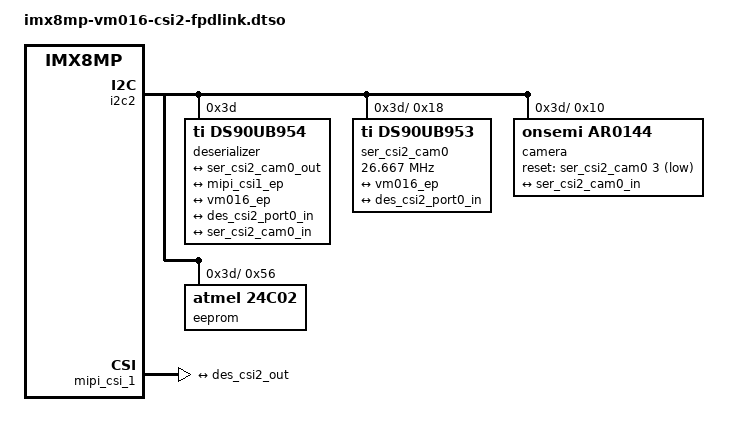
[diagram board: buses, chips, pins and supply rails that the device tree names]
// SPDX-License-Identifier: (GPL-2.0+ OR MIT)
/*
 * Copyright (C) 2022 PHYTEC Messtechnik GmbH
 * Author: Stefan Riedmueller <s.riedmueller@phytec.de>
 */

/dts-v1/;
/plugin/;

#include <dt-bindings/gpio/gpio.h>
#include <dt-bindings/clock/imx8mp-clock.h>

/ {
	compatible = "phytec,imx8mp-phyboard-pollux";

	fragment@3 {
		target-path= "/";

		__overlay__ {
			ser_csi2_clk: serializer-csi2-clk {
				#clock-cells = <0>;
				compatible = "fixed-clock";
				clock-frequency = <24000000>;
			};
		};
	};
};

&i2c2 {
	#address-cells = <1>;
	#size-cells = <0>;

	deserializer@3d {
		compatible = "ti,ds90ub954";
		reg = <0x3d 0x70 0x71>;
		reg-names = "device_id", "rx0_id", "rx1_id";

		ports {
			#address-cells = <0x1>;
			#size-cells = <0x0>;
			port@0 {
				reg = <0>;

				ti,aeq-strobe-min = <7>;
				ti,aeq-strobe-max = <10>;
				ti,aeq-eq-min = <2>;
				ti,aeq-eq-max = <14>;

				des_csi2_port0_in: endpoint {
					remote-endpoint = <&ser_csi2_cam0_out>;
				};
			};

			port@2 {
				reg = <2>;
				des_csi2_out: endpoint {
					remote-endpoint = <&mipi_csi1_ep>;
					link-frequencies = /bits/ 64 <
						400000000
					>;
					data-lanes = <1 2>;
				};
			};
		};

		i2c-mux {
			#address-cells = <0x1>;
			#size-cells = <0x0>;

			i2c_csi2_port0: i2c@0 {
				#address-cells = <0x1>;
				#size-cells = <0x0>;
				reg = <0>;
				clock-frequency = <400000>;
			};
		};
	};
};

&i2c_csi2_port0 {
	#address-cells = <1>;
	#size-cells = <0>;

	ser_csi2_cam0: serializer@18 {
		compatible = "ti,ds90ub953";
		reg = <0x18>;

		clocks = <&ser_csi2_clk>;
		clock-names = "refclk";

		#clock-cells = <0>;
		clock-output-names = "clkout_csi2_port0";
		clock-frequency = <26666666>;

		gpio-controller;
		#gpio-cells = <2>;

		ports {
			#address-cells = <0x1>;
			#size-cells = <0x0>;
			port@0 {
				reg = <0>;
				ser_csi2_cam0_in: endpoint {
					remote-endpoint = <&vm016_ep>;
					data-lanes = <1 2>;
				};
			};

			port@1 {
				reg = <1>;
				ser_csi2_cam0_out: endpoint {
					remote-endpoint = <&des_csi2_port0_in>;
				};
			};
		};
	};

	camera@10 {
		#address-cells = <0x1>;
		#size-cells = <0x0>;

		compatible = "onsemi,ar0144";
		reg = <0x10>;
		clocks = <&ser_csi2_cam0>;
		clock-names = "ext";
		isp-bus-info = "csi1";

		reset-gpios = <&ser_csi2_cam0 3 GPIO_ACTIVE_LOW>;

		port@0 {
			reg = <0>;

			vm016_ep: endpoint {
				remote-endpoint = <&ser_csi2_cam0_in>;
				bus-type = <4>; /* MIPI CSI-2 D-PHY */
				link-frequencies = /bits/ 64 <222750000>;
				data-lanes = <1 2>;
				clock-lanes = <0>;
				clock-noncontinuous = <1>;
				onsemi,t-hs-prep = <1>;
				onsemi,t-clk-post = <9>;
			};
		};
	};

	eeprom@56 {
		compatible = "atmel,24c02";
		reg = <0x56>;
		pagesize = <16>;
	};
};

&mipi_csi_1 {
	#address-cells = <1>;
	#size-cells = <0>;

	port@1 {
		reg = <1>;
		mipi_csi1_ep: endpoint {
			remote-endpoint = <&des_csi2_out>;
			data-lanes = <2>;
			csis-hs-settle = <13>;
			csis-clk-settle = <2>;
			csis-wclk;
		};
	};
};
